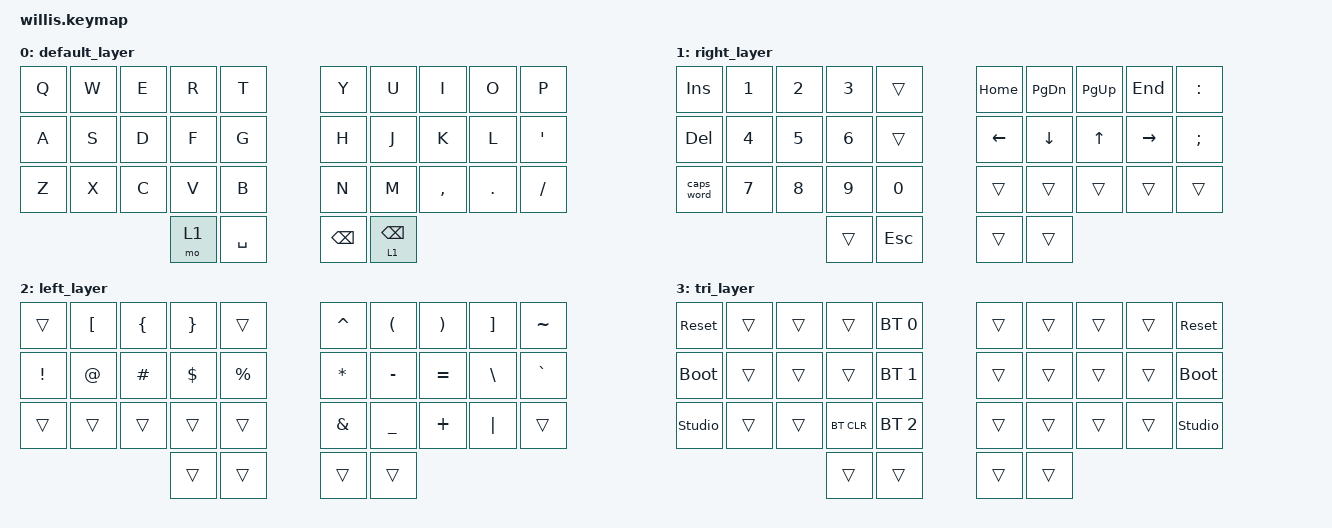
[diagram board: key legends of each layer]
// Copyright (c) 2022 The ZMK Contributors
// SPDX-License-Identifier: MIT

#include <behaviors.dtsi>
#include <dt-bindings/zmk/bt.h>
#include <dt-bindings/zmk/keys.h>

/ {
    behaviors {
        ht: hold_tap {
            compatible = "zmk,behavior-hold-tap";
            #binding-cells = <2>;
            flavor = "tap-preferred";
            tapping-term-ms = <220>;
            quick-tap-ms = <150>;
            require-prior-idle-ms = <100>;
            bindings = <&kp>, <&kp>;
        };
    };

    conditional_layers {
        compatible = "zmk,conditional-layers";

        tri_layer {
            if-layers = <1 2>;
            then-layer = <3>;
        };
    };

    keymap {
        compatible = "zmk,keymap";

        default_layer {
            bindings = <
&kp Q  &kp W  &kp E  &kp R  &kp T      &kp Y          &kp U  &kp I       &kp O    &kp P
&kp A  &kp S  &kp D  &kp F  &kp G      &kp H          &kp J  &kp K       &kp L    &kp SINGLE_QUOTE
&kp Z  &kp X  &kp C  &kp V  &kp B      &kp N          &kp M  &kp COMMA   &kp DOT  &kp FSLH
              &mo 1         &kp SPACE  &kp BACKSPACE         &lt 1 BSPC
            >;
        };

        right_layer {
            bindings = <
&kp INS     &kp N1  &kp N2  &kp N3  &trans   &kp HOME  &kp PG_DN  &kp PG_UP  &kp END    &kp COLON
&kp DEL     &kp N4  &kp N5  &kp N6  &trans   &kp LEFT  &kp DOWN   &kp UP     &kp RIGHT  &kp SEMI
&caps_word  &kp N7  &kp N8  &kp N9  &kp N0   &trans    &trans     &trans     &trans     &trans
                    &trans          &kp ESC  &trans               &trans
            >;
        };

        left_layer {
            bindings = <
&trans    &kp LBKT  &kp LBRC  &kp RBRC  &trans     &kp CARET  &kp LPAR   &kp RPAR   &kp RBKT  &kp TILDE
&kp EXCL  &kp AT    &kp HASH  &kp DLLR  &kp PRCNT  &kp ASTRK  &kp MINUS  &kp EQUAL  &kp BSLH  &kp GRAVE
&trans    &trans    &trans    &trans    &trans     &kp AMPS   &kp UNDER  &kp PLUS   &kp PIPE  &trans
                    &trans              &trans     &trans                &trans
            >;
        };

        tri_layer {
            bindings = <
&sys_reset      &trans  &trans  &trans      &bt BT_SEL 0  &trans  &trans  &trans  &trans  &sys_reset
&bootloader     &trans  &trans  &trans      &bt BT_SEL 1  &trans  &trans  &trans  &trans  &bootloader
&studio_unlock  &trans  &trans  &bt BT_CLR  &bt BT_SEL 2  &trans  &trans  &trans  &trans  &studio_unlock
                        &trans              &trans        &trans          &trans
            >;
        };
    };
};
